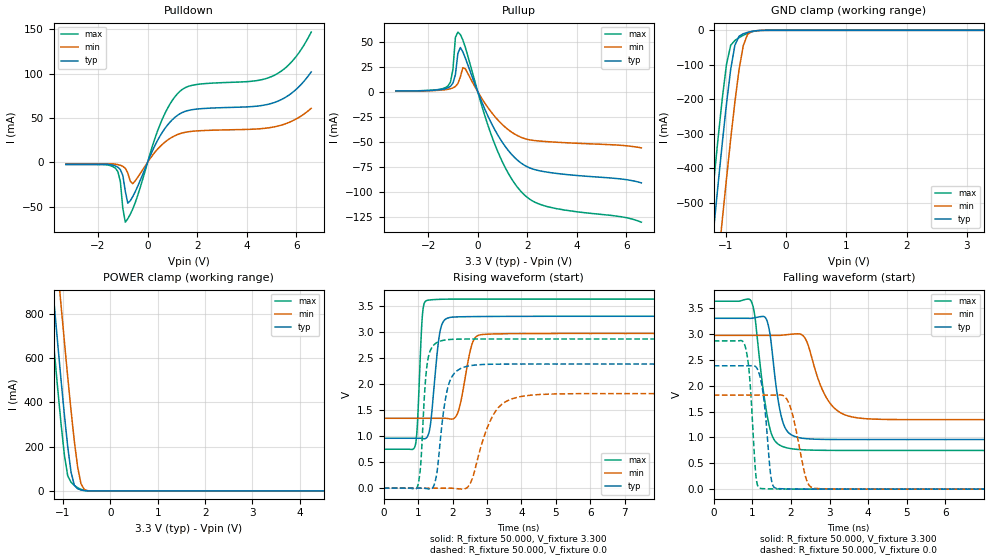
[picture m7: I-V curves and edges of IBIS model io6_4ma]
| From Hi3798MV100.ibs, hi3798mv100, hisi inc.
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|   Model io6_4ma
[Model] io6_4ma
Model_type I/O
Enable   Active-Low
C_comp   2.111pF   2.098pF   2.248pF
C_comp_pullup   1.218pF   1.174pF   1.245pF
C_comp_pulldown   0.831pF   0.815pF   0.883pF
[Temperature Range]   25.000   0.125k   -40.000
[Voltage Range]   3.300V   2.970V   3.630V
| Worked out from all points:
|   slope of the pulldown table from 0 to 0.495 V, typ, clamps not added: 16.9 ohm
|   slope of the pullup table from 0 to 0.495 V, typ, clamps not added: 17.3 ohm
|   GND clamp passes 1 mA (typ) near -0.48 V on its own axis
|   POWER clamp passes 1 mA (typ) near -0.52 V on its own axis
|   rising waveform, R_fixture 50.000, V_fixture 3.300: 20-80 % time 202ps typ, 274ps min, 112ps max; typ from 0.959 V to 3.3 V
|   rising waveform, R_fixture 50.000, V_fixture 0.0: 20-80 % time 274ps typ, 572ps min, 158ps max; typ from 0.001 V to 2.38 V
|   falling waveform, R_fixture 50.000, V_fixture 3.300: 20-80 % time 256ps typ, 505ps min, 300ps max; typ from 3.3 V to 0.959 V
|   falling waveform, R_fixture 50.000, V_fixture 0.0: 20-80 % time 178ps typ, 300ps min, 145ps max; typ from 2.38 V to 0.001 V
[Pulldown]
|Voltage   I(typ)   I(min)   I(max)
-3.3V     -2.354mA   -1.816mA   -2.619mA
-1.3V     -4.156mA   -2.185mA   -6.703mA
-1.1V     -8.261mA   -3.369mA   -21.6mA
-1V       -14.82mA   -4.556mA   -51.87mA
-900mV    -32.66mA   -6.823mA   -67.55mA
-800mV    -46.1mA    -11.93mA   -63.68mA
-600mV    -38.72mA   -24.06mA   -52.72mA
500mV     29.54mA    17.65mA    42.4mA
1.2V      52.77mA    31.15mA    77.07mA
5.1V      67.23mA    39.85mA    97.83mA
5.9V      79.93mA    47.41mA    116mA
6.6V      101.8mA    60.78mA    146.7mA
[Pullup]
|Voltage   I(typ)   I(min)   I(max)
-3.3V     751.9uA    692.7uA    761.9uA
-1.2V     3.909mA    2.403mA    5.781mA
-1V       8.533mA    3.798mA    22.34mA
-900mV    17.17mA    5.26mA     54.32mA
-800mV    38.41mA    8.181mA    59.49mA
-700mV    44.12mA    14.91mA    56.95mA
-500mV    33.54mA    22.89mA    44.27mA
700mV     -38.47mA   -25.06mA   -53.16mA
1.2V      -57.62mA   -37.28mA   -79.98mA
1.8V      -72.07mA   -45.99mA   -101mA
2.8V      -80.24mA   -49.82mA   -114.6mA
6.6V      -90.99mA   -56.06mA   -130.2mA
[GND_clamp]
|Voltage   I(typ)   I(min)   I(max)
-3.3V     -4.517A    -4.69A     -4.416A
-1.27V    -700.5mA   -927.1mA   -564.6mA
-1.2V     -573.8mA   -800.2mA   -438.1mA
-1.06V    -328.9mA   -551.9mA   -199.2mA
-990mV    -214.8mA   -431.8mA   -99.7mA
-920mV    -114mA     -316.2mA   -43.53mA
-850mV    -43.24mA   -208mA     -29.29mA
-780mV    -17.1mA    -113.2mA   -21.3mA
-710mV    -9.984mA   -44.04mA   -14.34mA
-640mV    -5.898mA   -11.93mA   -8.548mA
-430mV    -290.1uA   -417uA     -293.3uA
3.28V     0A         0A         0A
[POWER_clamp]
|Voltage   I(typ)   I(min)   I(max)
-3.28V    6.17A      6.491A     5.979A
-1.32V    1.171A     1.514A     963.5mA
-1.25V    998.8mA    1.342A     791.6mA
-1.18V    828.8mA    1.171A     622.5mA
-1.04V    498.6mA    836.2mA    300.3mA
-970mV    342.4mA    672.8mA    160.5mA
-900mV    199.2mA    514.1mA    67.64mA
-830mV    84.45mA    362.5mA    39.03mA
-690mV    9.426mA    106.7mA    13.99mA
-620mV    4.06mA     32.35mA    6.988mA
-480mV    331.6uA    966.8uA    576.2uA
6.6V      -86.79uA   -108.3nA   -146.3uA
[Ramp]
| variable   typ   min   max
dV/dt_r   1.429/0.277n   1.090/0.572n   1.718/0.163n
dV/dt_f   1.405/0.257n   0.977/0.505n   1.729/0.300n
R_load = 50.000
[Rising Waveform]
R_fixture= 50.000
V_fixture= 3.300
V_fixture_min= 2.970
V_fixture_max= 3.630
|time   V(typ)   V(min)   V(max)
0s        958.8mV    1.342V     747.8mV
913ps     958.7mV    1.342V     810.6mV
981ps     958.9mV    1.342V     1.248V
1.123ns   954.5mV    1.342V     3.304V
1.241ns   965.9mV    1.342V     3.6V
1.628ns   2.98V      1.342V     3.625V
1.846ns   3.263V     1.34V      3.628V
2.151ns   3.288V     1.449V     3.63V
2.751ns   3.294V     2.935V     3.63V
10ns      3.3V       2.97V      3.63V
[Rising Waveform]
R_fixture= 50.000
V_fixture= 0.0
V_fixture_min= 0.0
V_fixture_max= 0.0
|time   V(typ)   V(min)   V(max)
0s        890.9uV    0V         1.119mV
981ps     830.2uV    1.067uV    31.04mV
1.073ns   1.555mV    0V         434.7mV
1.272ns   -10.72mV   3.313uV    2.425V
1.588ns   534.3mV    -3.778uV   2.809V
1.866ns   1.943V     885.9uV    2.851V
2.342ns   2.325V     -14.39mV   2.863V
3.161ns   2.38V      1.384V     2.864V
3.767ns   2.382V     1.724V     2.864V
10ns      2.383V     1.817V     2.864V
[Falling Waveform]
R_fixture= 50.000
V_fixture= 3.300
V_fixture_min= 2.970
V_fixture_max= 3.630
|time   V(typ)   V(min)   V(max)
0s        3.3V       2.97V      3.63V
970ps     3.3V       2.97V      3.628V
1.064ns   3.311V     2.97V      3.341V
1.386ns   3.235V     2.97V      1.41V
1.547ns   2.415V     2.97V      975.7mV
1.775ns   1.331V     2.975V     826.4mV
2.316ns   981.5mV    2.962V     760.3mV
2.906ns   960.9mV    1.781V     749.9mV
3.496ns   959mV      1.411V     748.1mV
10ns      958.9mV    1.342V     747.8mV
[Falling Waveform]
R_fixture= 50.000
V_fixture= 0.0
V_fixture_min= 0.0
V_fixture_max= 0.0
|time   V(typ)   V(min)   V(max)
0s        2.383V     1.817V     2.864V
816ps     2.383V     1.817V     2.753V
928ps     2.383V     1.817V     2.168V
1.094ns   2.359V     1.817V     242.2mV
1.185ns   2.208V     1.817V     21.33mV
1.474ns   272mV      1.817V     5.789mV
1.58ns    27.46mV    1.817V     4.736mV
1.957ns   3.97mV     1.638V     2.532mV
2.556ns   1.145mV    27.4mV     1.381mV
10ns      889.6uV    0V         1.119mV
